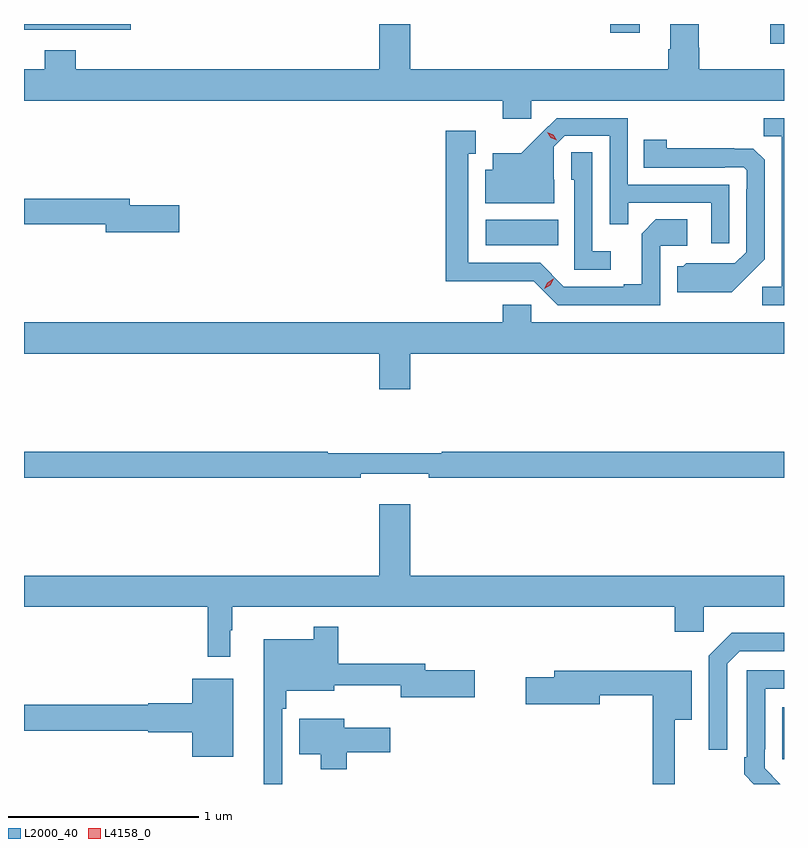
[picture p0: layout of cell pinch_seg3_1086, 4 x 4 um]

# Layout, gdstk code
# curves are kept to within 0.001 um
import gdstk
lib = gdstk.Library(unit=1e-6, precision=1e-09)
def R(c, l, rs):  # rectangles x0, y0, x1, y1
    for r in rs: c.add(gdstk.rectangle(r[:2], r[2:], *l))
def P(c, l, *ps):  # polygons
    for p in ps: c.add(gdstk.Polygon(p, *l))
L2000_40 = (2000, 40)
L4158_0 = (4158, 0)

pinch_seg3_1086 = lib.new_cell('pinch_seg3_1086')
R(pinch_seg3_1086, L2000_40, [(334.961,708.105,334.971,708.379), (333.402,710.81,333.782,710.944), (334.899,711.872,334.971,711.975), (334.057,711.93,334.213,711.975), (330.971,711.945,331.534,711.975)])
P(pinch_seg3_1086, L2000_40, [(333.642,711.572),(334.971,711.572),(334.971,711.736),(334.526,711.736),(334.526,711.849),(334.521,711.849),(334.521,711.974),(334.373,711.974),(334.373,711.842),(334.361,711.842),(334.361,711.736),(333.004,711.736),(333.004,711.975),(332.84,711.975),(332.84,711.736),(331.244,711.736),(331.244,711.838),(331.079,711.838),(331.079,711.736),(330.971,711.736),(330.971,711.572),(333.491,711.572),(333.491,711.477),(333.642,711.477)],
  [(334.683,711.129),(334.149,711.129),(334.149,711.48),(333.776,711.48),(333.589,711.295),(333.437,711.295),(333.437,711.208),(333.398,711.208),(333.398,711.032),(333.763,711.032),(333.763,711.156),(333.759,711.156),(333.759,711.33),(333.816,711.387),(334.053,711.387),(334.053,710.92),(334.151,710.92),(334.151,711.033),(334.587,711.033),(334.587,710.82),(334.683,710.82)],
  [(334.971,711.48),(334.864,711.48),(334.864,711.385),(334.959,711.385),(334.959,710.592),(334.857,710.592),(334.857,710.496),(334.971,710.496)],
  [(334.32,710.808),(334.462,710.808),(334.462,710.948),(334.297,710.948),(334.221,710.872),(334.221,710.605),(334.127,710.605),(334.127,710.592),(333.813,710.592),(333.687,710.718),(333.31,710.718),(333.31,711.291),(333.349,711.291),(333.349,711.412),(333.192,711.412),(333.192,710.621),(333.654,710.622),(333.78,710.496),(334.32,710.496)],
  [(334.777,710.645),(334.869,710.738),(334.869,711.26),(334.81,711.319),(334.353,711.32),(334.353,711.367),(334.234,711.367),(334.234,711.219),(334.658,711.219),(334.658,711.222),(334.758,711.222),(334.776,711.204),(334.776,711.104),(334.773,711.104),(334.773,710.775),(334.713,710.715),(334.456,710.716),(334.44,710.7),(334.409,710.7),(334.409,710.564),(334.697,710.564)],
  [(334.06,710.779),(333.963,710.779),(333.963,711.299),(333.852,711.299),(333.852,711.156),(333.867,711.156),(333.867,710.682),(334.06,710.682)],
  [(331.789,711.02),(331.528,711.02),(331.528,711.056),(330.971,711.056),(330.971,710.92),(331.4,710.92),(331.4,710.878),(331.789,710.878)],
  [(333.004,710.24),(334.971,710.24),(334.971,710.404),(333.642,710.404),(333.642,710.497),(333.491,710.497),(333.491,710.404),(330.971,710.404),(330.971,710.24),(332.84,710.24),(332.84,710.052),(333.004,710.052)],
  [(332.744,709.607),(333.1,709.607),(333.1,709.588),(334.971,709.588),(334.971,709.724),(333.17,709.724),(333.17,709.717),(332.57,709.717),(332.57,709.724),(330.971,709.724),(330.971,709.588),(332.744,709.588)],
  [(332.056,708.785),(332.068,708.785),(332.068,708.908),(334.397,708.908),(334.397,708.777),(334.548,708.777),(334.548,708.908),(334.971,708.908),(334.971,709.072),(333.004,709.072),(333.004,709.447),(332.84,709.447),(332.84,709.072),(330.971,709.072),(330.971,708.908),(331.939,708.908),(331.939,708.645),(332.056,708.645)],
  [(332.331,708.371),(332.351,708.371),(332.351,708.467),(332.605,708.467),(332.605,708.496),(332.954,708.496),(332.954,708.431),(333.343,708.431),(333.343,708.573),(333.082,708.573),(333.082,708.607),(332.624,708.607),(332.624,708.802),(332.496,708.802),(332.496,708.736),(332.234,708.736),(332.234,707.975),(332.331,707.975)],
  [(334.671,708.609),(334.737,708.675),(334.971,708.675),(334.971,708.772),(334.696,708.772),(334.575,708.651),(334.575,708.156),(334.671,708.156)],
  [(334.869,708.057),(334.869,708.157),(334.872,708.157),(334.872,708.477),(334.971,708.477),(334.971,708.573),(334.776,708.573),(334.776,708.115),(334.761,708.115),(334.761,708.027),(334.813,707.975),(334.952,707.975)],
  [(334.397,708.314),(334.486,708.314),(334.486,708.571),(333.761,708.571),(333.761,708.537),(333.612,708.537),(333.612,708.395),(334,708.395),(334,708.442),(334.279,708.442),(334.279,707.975),(334.397,707.975)],
  [(332.071,708.529),(331.856,708.529),(331.856,708.4),(331.626,708.4),(331.626,708.392),(330.971,708.392),(330.971,708.256),(331.626,708.256),(331.626,708.248),(331.856,708.248),(331.856,708.119),(332.071,708.119)],
  [(332.669,708.142),(332.899,708.142),(332.899,708.271),(332.656,708.271),(332.656,708.319),(332.42,708.319),(332.42,708.131),(332.534,708.131),(332.534,708.053),(332.669,708.053)])
P(pinch_seg3_1086, L4158_0, [(333.774,711.362),(333.744,711.377),(333.726,711.406),(333.726,711.406),(333.726,711.406),(333.757,711.392),(333.774,711.362),(333.774,711.362)],
  [(333.709,710.581),(333.709,710.582),(333.726,710.614),(333.757,710.634),(333.758,710.634),(333.758,710.634),(333.741,710.601),(333.71,710.581)])

lib.write_gds('pinch_seg3_1086.gds')
